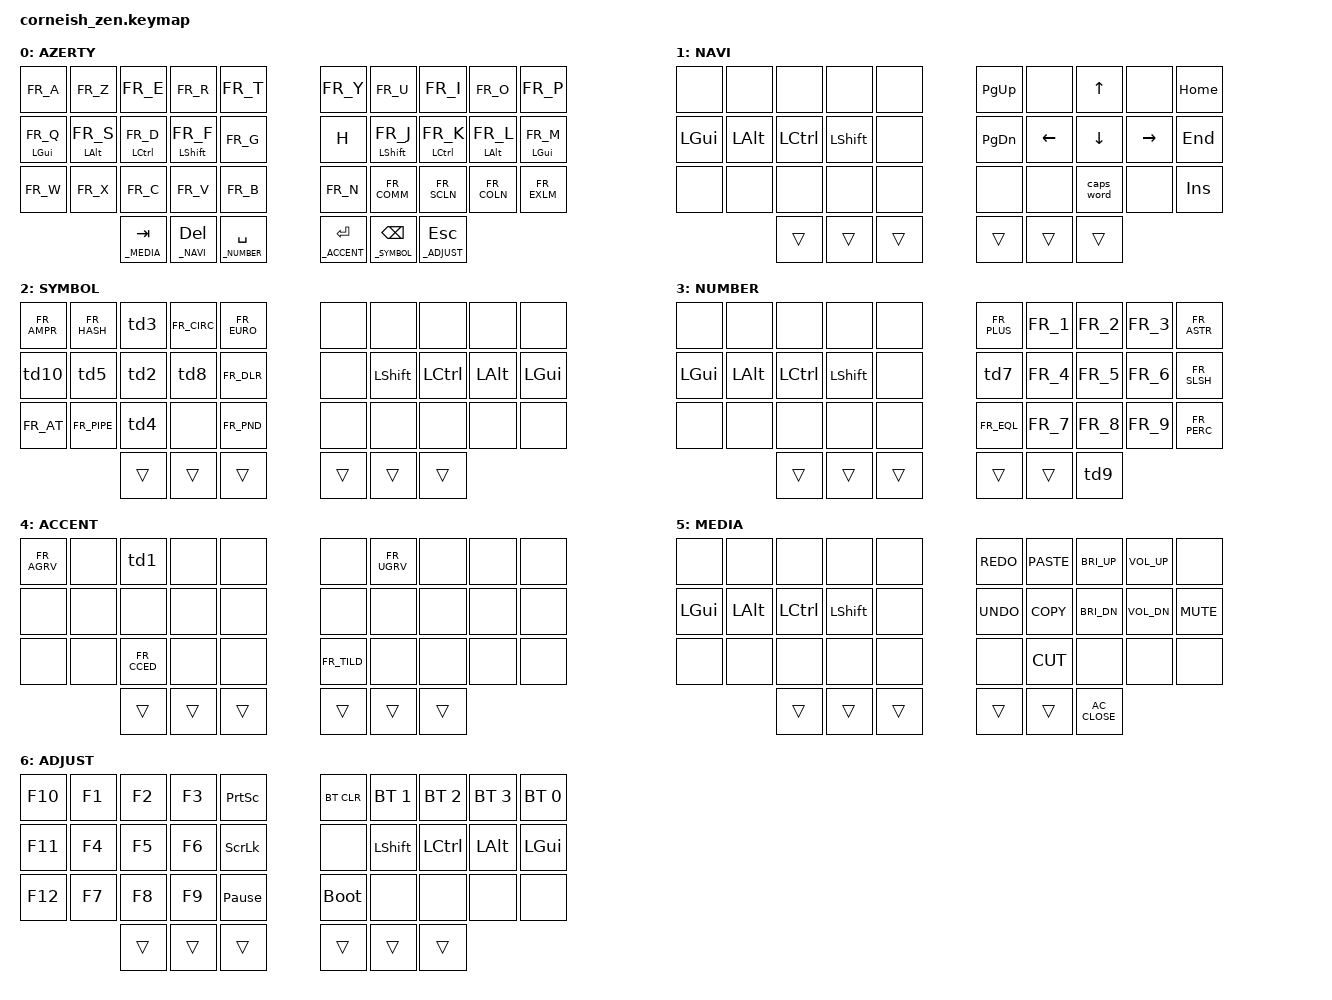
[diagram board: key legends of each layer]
#include "keys_fr.h"
#include <behaviors.dtsi>
#include <dt-bindings/zmk/keys.h>
#include <dt-bindings/zmk/bt.h>

#define _DEFAULT 0
#define _NAVI 1
#define _SYMBOL 2
#define _NUMBER 3
#define _ACCENT 4
#define _MEDIA 5
#define _ADJUST 6

#define TAPPING_TERM 150
#define QUICK_TAP 200

/* Key index
 0  1  2  3  4         5  6  7  8  9
10 11 12 13 14        15 16 17 18 19
20 21 22 23 24        25 26 27 28 29
        30 31 32    33 34 35         */

/ {
    behaviors {
        hm: homerow_mods {
            compatible = "zmk,behavior-hold-tap";
            label = "HOMEROW_MODS";
            #binding-cells = <2>;
            tapping-term-ms = <TAPPING_TERM>;
            quick-tap-ms = <QUICK_TAP>;
            flavor = "tap-preferred";
            bindings = <&kp>, <&kp>;
        };
        td1: tap_dance_1 {
            compatible = "zmk,behavior-tap-dance";
            label = "TAP_DANCE_1";
            #binding-cells = <0>;
            tapping-term-ms = <200>;
            bindings = <&kp FR_EACU>, <&kp FR_EGRV>;
        };
         td2: tap_dance_2 {
            compatible = "zmk,behavior-tap-dance";
            label = "TAP_DANCE_2";
            #binding-cells = <0>;
            tapping-term-ms = <200>;
            bindings = <&kp FR_RPRN>, <&kp FR_LPRN>;
        };
         td3: tap_dance_3 {
            compatible = "zmk,behavior-tap-dance";
            label = "TAP_DANCE_3";
            #binding-cells = <0>;
            tapping-term-ms = <200>;
            bindings = <&kp FR_RBRC>, <&kp FR_LBRC>;
        };
         td4: tap_dance_4 {
            compatible = "zmk,behavior-tap-dance";
            label = "TAP_DANCE_4";
            #binding-cells = <0>;
            tapping-term-ms = <200>;
            bindings = <&kp FR_RCBR>, <&kp FR_LCBR>;
        };
         td5: tap_dance_5 {
            compatible = "zmk,behavior-tap-dance";
            label = "TAP_DANCE_5";
            #binding-cells = <0>;
            tapping-term-ms = <200>;
            bindings = <&kp FR_RABK>, <&kp FR_LABK>;
        };
        td6: tap_dance_6 {
            compatible = "zmk,behavior-tap-dance";
            label = "TAP_DANCE_6";
            #binding-cells = <0>;
            tapping-term-ms = <200>;
            bindings = <&kp FR_QUOT>, <&kp FR_DQUO>;
        };
        td7: tap_dance_7 {
            compatible = "zmk,behavior-tap-dance";
            label = "TAP_DANCE_7";
            #binding-cells = <0>;
            tapping-term-ms = <200>;
            bindings = <&kp FR_MINS>, <&kp FR_UNDS>;
        };
        td8: tap_dance_8 {
            compatible = "zmk,behavior-tap-dance";
            label = "TAP_DANCE_8";
            #binding-cells = <0>;
            tapping-term-ms = <200>;
            bindings = <&kp FR_QUOT>, <&kp FR_DQUO>;
        };
        td9: tap_dance_9 {
            compatible = "zmk,behavior-tap-dance";
            label = "TAP_DANCE_9";
            #binding-cells = <0>;
            tapping-term-ms = <200>;
            bindings = <&kp FR_0>, <&kp FR_DEG>;
        };
        td10: tap_dance_10 {
            compatible = "zmk,behavior-tap-dance";
            label = "TAP_DANCE_10";
            #binding-cells = <0>;
            tapping-term-ms = <200>;
            bindings = <&kp FR_SLSH>, <&kp FR_BSLS>;
        };
    };
};

/ {
  chosen {
    zmk,matrix_transform = &five_column_transform;
  };
};

/ {
        keymap {
                compatible = "zmk,keymap";

                default_layer {
                        label = "AZERTY";
                        bindings = <
   &kp FR_A         &kp FR_Z        &kp FR_E       &kp FR_R             &kp FR_T   &kp FR_Y    &kp FR_U        &kp FR_I        &kp FR_O      &kp FR_P
   &hm LGUI FR_Q    &hm LALT FR_S   &hm LCTRL FR_D &hm LSHIFT FR_F      &kp FR_G   &kp H       &hm LSHIFT FR_J &hm LCTRL FR_K  &hm LALT FR_L &hm LGUI FR_M
   &kp FR_W         &kp FR_X        &kp FR_C       &kp FR_V             &kp FR_B   &kp FR_N    &kp FR_COMM     &kp FR_SCLN     &kp FR_COLN   &kp FR_EXLM
                    &lt _MEDIA TAB  &lt _NAVI DEL  &lt _NUMBER SPC      &lt _ACCENT RET      &lt _SYMBOL BSPC  &lt _ADJUST ESC
                        >;
                };

                navi_layer {
                        label = "NAVI";
                        bindings = <
   &none      &none     &none       &none       &none                   &kp PG_UP   &none       &kp UP      &none       &kp HOME
   &kp LGUI   &kp LALT  &kp LCTRL   &kp LSHIFT  &none                   &kp PG_DN   &kp LEFT    &kp DOWN    &kp RIGHT   &kp END
   &none      &none     &none       &none       &none                   &none       &none       &caps_word  &none       &kp INS
                         &trans     &trans      &trans                  &trans      &trans      &trans
                        >;
                };

                symbol_layer {
                        label = "SYMBOL";
                        bindings = <
   &kp FR_AMPR  &kp FR_HASH &td3    &kp FR_CIRC &kp FR_EURO             &none       &none       &none       &none       &none
   &td10        &td5        &td2    &td8        &kp FR_DLR              &none       &kp LSHIFT  &kp LCTRL   &kp LALT    &kp LGUI
   &kp FR_AT    &kp FR_PIPE &td4    &none       &kp FR_PND              &none       &none       &none       &none       &none
                                &trans          &trans          &trans                  &trans      &trans      &trans
                        >;
                };

                number_layer {
                        label = "NUMBER";
                        bindings = <
   &none    &none       &none       &none      &none                         &kp FR_PLUS     &kp FR_1  &kp FR_2  &kp FR_3  &kp FR_ASTR   
   &kp LGUI &kp LALT    &kp LCTRL   &kp LSHIFT &none                        &td7            &kp FR_4  &kp FR_5  &kp FR_6  &kp FR_SLSH
   &none    &none       &none       &none      &none                         &kp FR_EQL      &kp FR_7  &kp FR_8  &kp FR_9  &kp FR_PERC   
             &trans  &trans  &trans                                         &trans          &trans    &td9
                        >;
                };

                accent_layer {
                        label = "ACCENT";
                        bindings = <
   &kp FR_AGRV  &none       &td1        &none       &none       &none       &kp FR_UGRV   &none        &none      &none
   &none        &none       &none       &none       &none       &none       &none         &none        &none      &none
   &none        &none       &kp FR_CCED &none       &none       &kp FR_TILD &none         &none        &none      &none
                &trans      &trans      &trans      &trans      &trans      &trans
                        >;
                };

                media_layer {
                        label = "MEDIA";
                        bindings = <
   &none      &none     &none       &none       &none                       &kp K_REDO  &kp K_PASTE     &kp C_BRI_UP    &kp K_VOL_UP    &none
   &kp LGUI   &kp LALT  &kp LCTRL   &kp LSHIFT  &none                       &kp K_UNDO  &kp K_COPY      &kp C_BRI_DN    &kp K_VOL_DN    &kp K_MUTE
   &none      &none     &none       &none       &none                       &none       &kp K_CUT       &none           &none           &none
                        &trans      &trans      &trans                      &trans      &trans          &kp C_AC_CLOSE
                        >;
                };

                adjust_layer {
                        label = "ADJUST";
                        bindings = <
   &kp F10    &kp F1       &kp F2      &kp F3      &kp PSCRN        &bt BT_CLR  &bt BT_SEL 1  &bt BT_SEL 2  &bt BT_SEL 3  &bt BT_SEL 0  
   &kp F11    &kp F4       &kp F5      &kp F6      &kp SLCK         &none       &kp LSHIFT    &kp LCTRL     &kp LALT      &kp LGUI
   &kp F12    &kp F7       &kp F8      &kp F9      &kp PAUSE_BREAK  &bootloader &none         &none         &none         &none
                           &trans      &trans      &trans           &trans      &trans        &trans
                        >;
                };

        };
};
